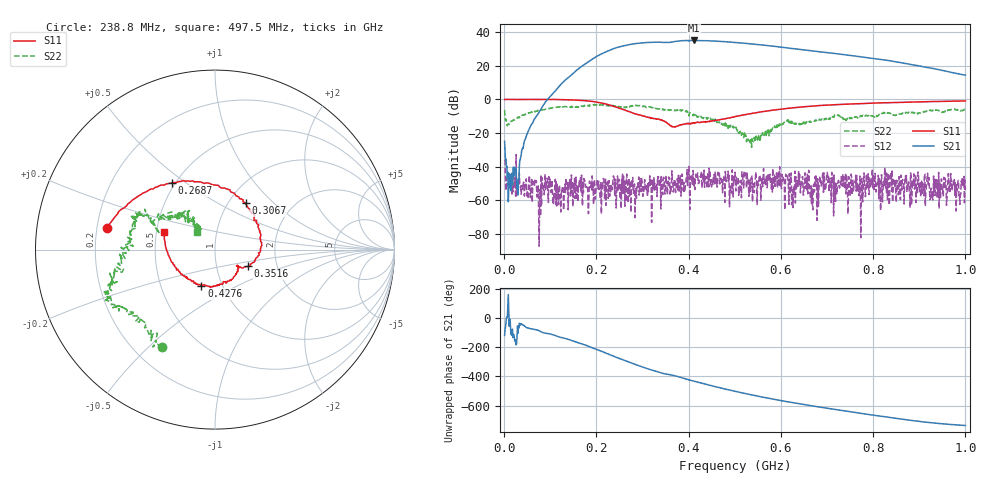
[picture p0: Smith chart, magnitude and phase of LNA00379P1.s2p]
! Created with skrf 1.9.0 (http://scikit-rf.org).
# Hz S RI R 50.0
!freq ReS11 ImS11 ReS21 ImS21 ReS12 ImS12 ReS22 ImS22
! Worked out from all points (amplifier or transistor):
!   1001 points, 1 MHz to 1 GHz, reference 50 ohm
!   highest |S21| = 35.0 dB at 410.6 MHz (marker M1)
!   |S21| within 3 dB of that: 262.5 MHz to 569.3 MHz (306.8 MHz wide, 73.8 % of centre)
!   unconditionally stable (mu >= 1): start of sweep to 81.77 MHz; 265.8 MHz to 396.6 MHz; 396.6 MHz to end of sweep (the widest 3 of 26)
!   at 166.8 MHz: K = 1.91, MAG = 31.9 dB, |S12| = -55.5 dB
!   at 500.5 MHz: K = 1.43, MAG = 34.7 dB, |S12| = -43.3 dB
!   at 1 GHz: K = 6.41, MAG = 22.9 dB, |S12| = -53.6 dB
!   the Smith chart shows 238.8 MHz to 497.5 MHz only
!   S11 on the Smith chart (normalised r, x): 238.8 MHz: 0.24, +0.09; 268.7 MHz: 0.48, +0.44; 306.7 MHz: 1.20, +0.68; 351.6 MHz: 1.42, -0.28; 427.6 MHz: 0.80, -0.34; 497.5 MHz: 0.55, +0.12
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1000000  0.9959 0.00297  -0.0274 -0.0495  -0.0154 0.0052  0.3477 0.3377
1.07893e8  0.5149 -0.8527  -0.7347 -1.438  0.000867 -0.00128  0.4226 -0.3845
1.67833e8  -0.2573 -0.8973  -9.55 -0.531  0.00547 0.00131  0.0261 -0.6347
2.08792e8  -0.6896 -0.387  -15.22 15.54  -0.0011 7.07e-05  -0.2328 -0.6463
2.38762e8  -0.6028 0.1227  -3.268 32.57  0.00356 0.00217  -0.2937 -0.5409
2.68732e8  -0.2414 0.3718  21.28 35.77  -6.77e-05 -0.000839  -0.4916 -0.3453
2.85715e8  -0.0275 0.3674  34.9 29.27  -0.00221 0.00041  -0.6104 -0.2828
3.06694e8  0.1704 0.2578  46.63 13.83  -0.000148 0.00252  -0.5693 -0.1818
3.34666e8  0.261 0.0242  49.15 -9.487  -0.00403 0.0031  -0.5184 -0.0481
3.51649e8  0.1845 -0.093  44.44 -20.61  -0.00204 0.00234  -0.4772 0.0257
3.78622e8  0.1302 -0.108  39.05 -37.44  -0.00237 0.0037  -0.4547 0.1723
4.1059e8  0.0229 -0.1992  16.93 -53.7  -0.000219 0.00448  -0.3109 0.1912
4.27573e8  -0.0756 -0.2012  3.615 -55.53  0.00415 0.00598  -0.2264 0.1801
4.59541e8  -0.2156 -0.1061  -20.05 -49.84  0.00317 0.00124  -0.1429 0.171
4.97503e8  -0.2856 0.0975  -37.81 -31.97  0.00475 -0.00177  -0.1012 0.099
5.005e8  -0.2895 0.1109  -39.13 -30.27  0.000843 0.00682  -0.0754 0.113
5.4046e8  -0.2136 0.3263  -43.06 -8.18  0.000742 -0.00281  -0.0549 -0.00194
5.88412e8  0.000563 0.4893  -35.19 12.35  0.00106 -0.00549  -0.117 -0.097
6.67333e8  0.3835 0.4996  -12.98 24.25  0.00218 -0.000479  -0.2155 -0.0603
7.55245e8  0.6809 0.2781  4.888 19.17  0.00169 -0.00177  -0.2781 -0.00794
8.34166e8  0.7994 0.0188  10.9 9.022  -0.00104 0.000115  -0.3961 -0.00734
1e9  0.7255 -0.528  5.037 -1.433  -0.00205 0.000376  -0.4001 0.2922
